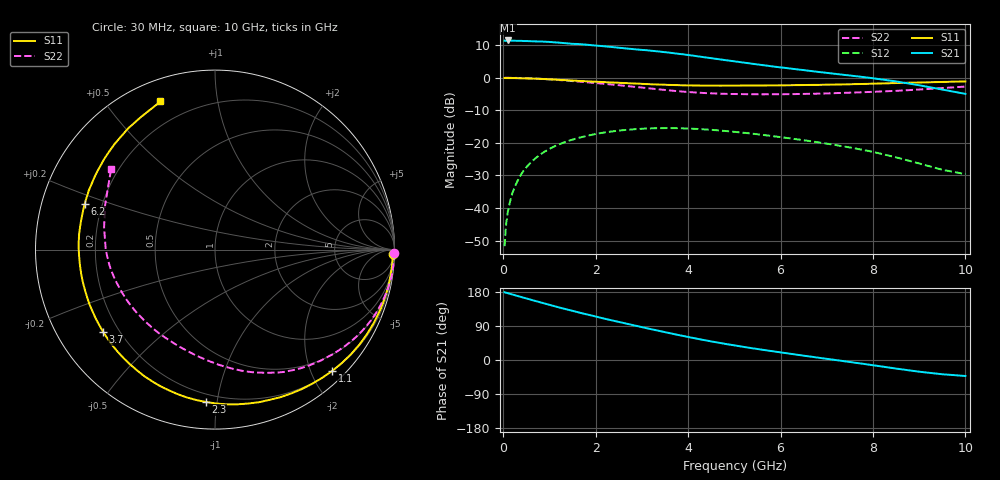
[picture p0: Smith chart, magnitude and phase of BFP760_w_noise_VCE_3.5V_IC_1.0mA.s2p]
! Infineon Technologies  Discrete & RF Semiconductors
! BFP760
! VCE =  3.5 V,  IC =  1.0 mA
! Common Emitter S-Parameters:  Nov 2012
# GHz  S  MA  R  50
!  f  S11  S21  S12  S22
! GHz  MAG  ANG  MAG  ANG  MAG  ANG  MAG  ANG
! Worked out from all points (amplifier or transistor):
!   99 points, 30 MHz to 10 GHz, reference 50 ohm
!   highest |S21| = 11.5 dB at 110 MHz (marker M1)
!   |S21| within 3 dB of that: start of sweep to 3.102 GHz
!   unconditionally stable (mu >= 1): 7.65 GHz to end of sweep
!   at 350 MHz: K = 0.04, MSG = 20.9 dB, |S12| = -30.5 dB
!   at 3.5 GHz: K = 0.28, MSG = 11.7 dB, |S12| = -15.4 dB
!   at 10 GHz: K = 2.19, MAG = 6.2 dB, |S12| = -29.6 dB
!   lowest NFmin = 0.56 dB at 900 MHz
!   S11 on the Smith chart (normalised r, x): 30 MHz: 25, -73; 1.1 GHz: 0.20, -2.35; 2.3 GHz: 0.15, -0.93; 3.7 GHz: 0.14, -0.32; 6.2 GHz: 0.13, +0.17; 10 GHz: 0.09, +0.69
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0.03  0.9915 -1.4  3.708 178.8  0.0026 99.9  1 -1.1
0.07  0.9904 -2.9  3.713 177.2  0.0064 88.4  1 -1.9
0.11  0.9904 -4.6  3.743 175.9  0.0094 85.6  0.9995 -3.0
0.25  0.9876 -10.5  3.71 171.1  0.0212 82.4  0.9957 -6.7
0.45  0.9813 -18.8  3.665 164.1  0.0381 76.4  0.9886 -12.0
0.8  0.9626 -33.6  3.615 152.3  0.0661 65.7  0.9651 -21.3
1.1  0.9401 -45.9  3.506 142.3  0.088 56.7  0.9359 -29.1
1.3  0.9232 -54.0  3.416 135.8  0.101 50.9  0.9135 -34.1
1.7  0.8906 -70.1  3.269 123.5  0.1229 40.2  0.8659 -43.8
2.1  0.8644 -85.8  3.085 111.7  0.1413 29.7  0.8188 -53.5
2.3  0.8504 -93.4  2.993 106.0  0.1484 24.7  0.7937 -58.2
2.9  0.8132 -115.5  2.719 89.6  0.1635 10.4  0.72 -72.0
3.4  0.7861 -133.6  2.518 76.1  0.1686 -1.0  0.6608 -83.7
3.7  0.7737 -143.6  2.38 68.3  0.1686 -7.5  0.6303 -90.8
4.3  0.7591 -161.9  2.093 53.6  0.1622 -19.7  0.5863 -104.8
5.1  0.7596 178.8  1.752 36.6  0.1457 -33.2  0.5619 -121.7
6.2  0.769 160.7  1.39 16.6  0.1176 -47.5  0.5612 -143.3
6.7  0.7775 153.5  1.261 8.2  0.105 -52.6  0.5687 -153.5
7.6  0.7987 139.8  1.064 -7.0  0.0828 -60.2  0.5948 -171.9
8.5  0.8304 125.8  0.88 -22.6  0.0601 -64.5  0.6302 168.7
9  0.8466 119.0  0.768 -30.9  0.0484 -63.0  0.6603 158.0
10  0.8797 110.2  0.566 -42.2  0.0332 -44.7  0.7336 142.0
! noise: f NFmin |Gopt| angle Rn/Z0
0.9  0.56  0.74  29  0.39
1.8  0.75  0.67  58  0.32
2.4  0.89  0.62  78  0.27
3.5  1.15  0.59  110  0.18
5.5  1.87  0.54  -168  0.1
8  3.1  0.66  -111  0.7
